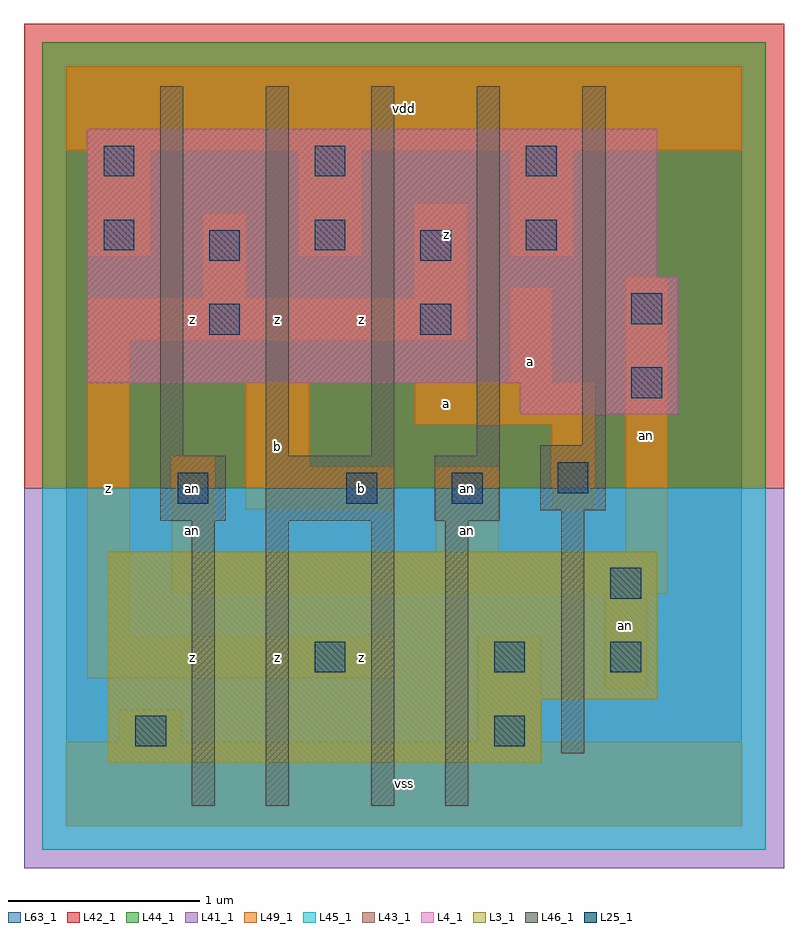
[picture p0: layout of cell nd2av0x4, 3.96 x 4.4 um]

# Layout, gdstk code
import gdstk
lib = gdstk.Library(unit=1e-6, precision=1e-09)
def R(c, l, rs):  # rectangles x0, y0, x1, y1
    for r in rs: c.add(gdstk.rectangle(r[:2], r[2:], *l))
def A(c, l, x, y, w, h, nx, ny, dx, dy):  # array of equal rectangles
    R(c, l, [(x+i*dx, y+j*dy, x+i*dx+w, y+j*dy+h) for i in range(nx) for j in range(ny)])
L3_1 = (3, 1)
L4_1 = (4, 1)
L25_1 = (25, 1)
L41_1 = (41, 1)
L42_1 = (42, 1)
L43_1 = (43, 1)
L44_1 = (44, 1)
L45_1 = (45, 1)
L46_1 = (46, 1)
L49_1 = (49, 1)
L63_1 = (63, 1)

nd2av0x4 = lib.new_cell('nd2av0x4')
R(nd2av0x4, L3_1, [(0.22,0.33,2.475,0.66), (0.22,0.66,3.08,1.43)])
R(nd2av0x4, L4_1, [(2.365,2.145,3.19,2.31), (0.11,2.31,3.19,2.86), (0.11,2.86,3.08,3.63)])
A(nd2av0x4, L25_1, 0.195, 3, 0.16, 0.16, 3, 2, 1.1, 0.385)
R(nd2av0x4, L25_1, [(0.36,0.415,0.52,0.575), (2.23,0.415,2.39,0.575), (1.295,0.8,1.455,0.96), (2.23,0.8,2.39,0.96), (2.835,0.8,2.995,0.96), (2.835,1.185,2.995,1.345), (0.58,1.68,0.74,1.84), (1.46,1.68,1.62,1.84), (2.01,1.68,2.17,1.84), (2.56,1.735,2.72,1.895), (2.945,2.23,3.105,2.39), (0.745,2.56,0.905,2.72), (1.845,2.56,2.005,2.72), (2.945,2.615,3.105,2.775), (0.745,2.945,0.905,3.105), (1.845,2.945,2.005,3.105)])
R(nd2av0x4, L41_1, [(-0.22,-0.22,3.74,1.76)])
R(nd2av0x4, L42_1, [(-0.22,1.76,3.74,4.18)])
R(nd2av0x4, L43_1, [(0.22,0.33,2.475,0.66), (0.22,0.66,3.08,1.43), (2.365,2.145,3.19,2.31), (0.11,2.31,3.19,2.86), (0.11,2.86,3.08,3.63)])
R(nd2av0x4, L44_1, [(-0.125,1.76,3.645,4.085)])
R(nd2av0x4, L45_1, [(-0.125,-0.125,3.645,1.76)])
A(nd2av0x4, L46_1, 0.49, 1.93, 0.12, 1.925, 4, 1, 0.55, 0)
R(nd2av0x4, L46_1, [(0.655,0.105,0.775,1.59), (1.04,0.105,1.16,1.59), (1.59,0.105,1.71,1.59), (1.975,0.105,2.095,1.59), (2.58,0.38,2.7,1.645), (0.49,1.59,0.83,1.93), (1.04,1.59,1.71,1.93), (1.92,1.59,2.26,1.93), (2.47,1.645,2.81,1.985), (2.69,1.985,2.81,3.855)])
A(nd2av0x4, L49_1, 0.11, 2.97, 0.33, 0.55, 3, 1, 1.1, 0)
R(nd2av0x4, L49_1, [(0,0,3.52,0.44), (0.275,0.44,0.605,0.605), (2.145,0.44,2.475,0.99), (2.805,0.715,3.025,1.21), (0.11,0.77,1.705,0.99), (0.11,0.99,0.33,2.53), (0.55,1.21,3.135,1.43), (0.55,1.43,0.77,1.925), (1.925,1.43,2.255,1.87), (2.915,1.43,3.135,2.86), (0.935,1.65,1.705,1.87), (2.53,1.65,2.75,2.09), (0.935,1.87,1.265,2.31), (1.815,2.09,2.75,2.31), (2.31,2.31,2.53,2.805), (0.11,2.53,2.09,2.75), (0.715,2.75,0.935,3.19), (1.815,2.75,2.09,3.245), (0,3.52,3.52,3.96)])
R(nd2av0x4, L63_1, [(0,0,3.52,3.96)])
nd2av0x4.add(gdstk.Label('an', (0.66,1.76), layer=49, texttype=1))
nd2av0x4.add(gdstk.Label('an', (2.09,1.76), layer=49, texttype=1))
nd2av0x4.add(gdstk.Label('z', (0.66,0.88), layer=49, texttype=1))
nd2av0x4.add(gdstk.Label('an', (0.66,1.54), layer=49, texttype=1))
nd2av0x4.add(gdstk.Label('z', (0.22,1.76), layer=49, texttype=1))
nd2av0x4.add(gdstk.Label('z', (0.66,2.64), layer=49, texttype=1))
nd2av0x4.add(gdstk.Label('z', (1.1,0.88), layer=49, texttype=1))
nd2av0x4.add(gdstk.Label('z', (1.54,0.88), layer=49, texttype=1))
nd2av0x4.add(gdstk.Label('b', (1.54,1.76), layer=49, texttype=1))
nd2av0x4.add(gdstk.Label('b', (1.1,1.98), layer=49, texttype=1))
nd2av0x4.add(gdstk.Label('z', (1.1,2.64), layer=49, texttype=1))
nd2av0x4.add(gdstk.Label('z', (1.54,2.64), layer=49, texttype=1))
nd2av0x4.add(gdstk.Label('vss', (1.76,0.22), layer=49, texttype=1))
nd2av0x4.add(gdstk.Label('an', (2.09,1.54), layer=49, texttype=1))
nd2av0x4.add(gdstk.Label('a', (1.98,2.2), layer=49, texttype=1))
nd2av0x4.add(gdstk.Label('a', (2.42,2.42), layer=49, texttype=1))
nd2av0x4.add(gdstk.Label('z', (1.98,3.08), layer=49, texttype=1))
nd2av0x4.add(gdstk.Label('vdd', (1.76,3.74), layer=49, texttype=1))
nd2av0x4.add(gdstk.Label('an', (2.915,1.045), layer=49, texttype=1))
nd2av0x4.add(gdstk.Label('an', (3.025,2.035), layer=49, texttype=1))

lib.write_gds('nd2av0x4.gds')
